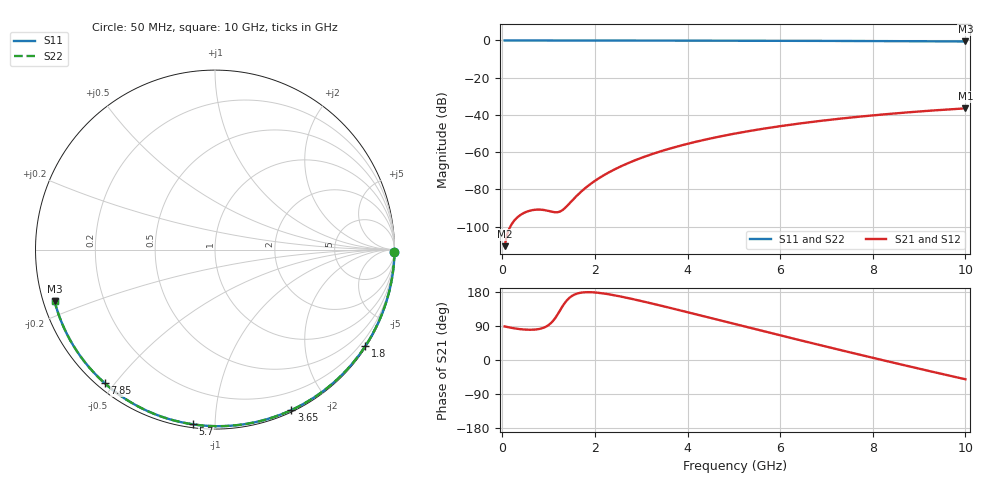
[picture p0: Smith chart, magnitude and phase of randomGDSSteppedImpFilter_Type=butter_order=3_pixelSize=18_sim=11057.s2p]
! freq	dB(S11)	phase(S11)	dB(S12)	phase(S12)
!  dB(S21)	phase(S21)	dB(S22)	phase(S22)
!S-par simulation data
#  GHz  S  DB  R 50
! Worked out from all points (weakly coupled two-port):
!   200 points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, 50 MHz to 10 GHz, reference 50 ohm
!   highest |S21| = -36.49 dB at 10 GHz (marker M1); lowest = -110.5 dB at 50 MHz (marker M2)
!   lowest |S11| = -0.5 dB at 10 GHz (marker M3), VSWR 31.89, Z = 1.61 - j7.88 ohm
!   |S11| at or under -10 dB: nowhere
!   |S22| runs from -0.5 to 0.0 dB; largest |S21 - S12| = 0
!   S11 on the Smith chart (normalised r, x): 50 MHz: open; 1.8 GHz: 0.03, -3.41; 3.65 GHz: 0.02, -1.58; 5.7 GHz: 0.02, -0.88; 7.85 GHz: 0.02, -0.47; 10 GHz: 0.03, -0.16
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0.05  -0.00 -0.9  -110.50 88.6  -110.50 88.6  -0.00 -0.9
0.45  -0.01 -8.3  -92.87 80.6  -92.87 80.6  -0.01 -8.3
0.9  -0.02 -16.5  -91.08 85.6  -91.08 85.6  -0.02 -16.5
1.3  -0.03 -23.7  -91.12 141.6  -91.12 141.6  -0.03 -23.7
1.75  -0.04 -31.8  -80.18 178.5  -80.18 178.5  -0.04 -31.8
1.8  -0.04 -32.7  -79.14 178.9  -79.14 178.9  -0.04 -32.7
1.95  -0.04 -35.3  -76.29 178.7  -76.29 178.7  -0.04 -35.3
2.1  -0.05 -38.0  -73.79 177.0  -73.79 177.0  -0.05 -38.0
2.45  -0.06 -44.1  -68.95 170.1  -68.95 170.1  -0.06 -44.1
2.9  -0.07 -51.9  -64.04 158.5  -64.04 158.5  -0.07 -51.9
3.4  -0.08 -60.3  -59.71 144.1  -59.71 144.1  -0.08 -60.3
3.65  -0.09 -64.5  -57.85 136.7  -57.85 136.7  -0.09 -64.5
4.3  -0.11 -75.2  -53.73 117.0  -53.73 117.0  -0.11 -75.2
5.05  -0.13 -87.1  -49.90 94.0  -49.90 94.0  -0.13 -87.1
5.7  -0.16 -97.2  -47.17 74.2  -47.17 74.2  -0.16 -97.2
6.2  -0.19 -104.9  -45.34 59.1  -45.34 59.1  -0.19 -104.9
6.7  -0.22 -112.4  -43.72 44.1  -43.72 44.1  -0.22 -112.4
7.25  -0.26 -120.6  -42.13 27.7  -42.13 27.7  -0.26 -120.6
7.85  -0.31 -129.5  -40.60 10.1  -40.60 10.1  -0.31 -129.5
8.35  -0.35 -136.9  -39.46 -4.3  -39.46 -4.3  -0.35 -136.9
9.2  -0.44 -149.7  -37.79 -28.6  -37.79 -28.6  -0.44 -149.7
10  -0.54 -162.1  -36.49 -50.9  -36.49 -50.9  -0.54 -162.1
